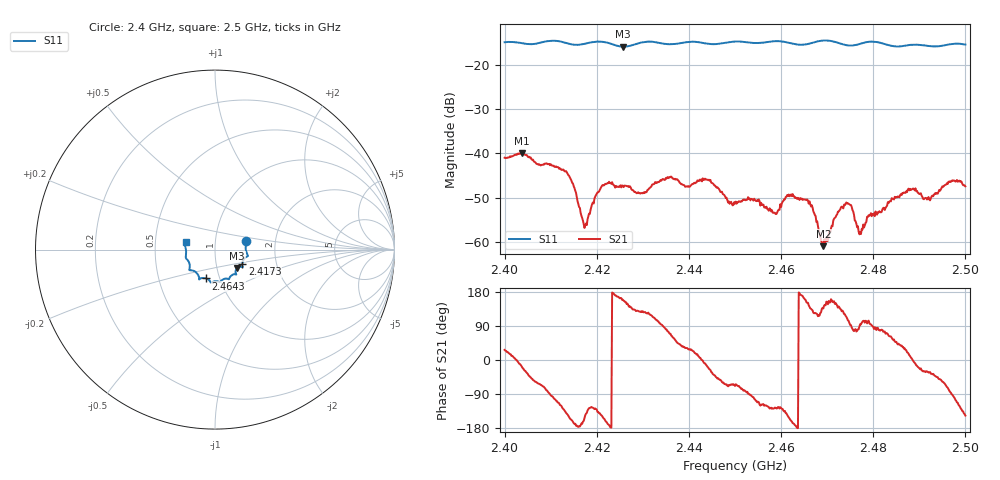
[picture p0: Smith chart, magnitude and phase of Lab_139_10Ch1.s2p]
# Hz S RI R 50
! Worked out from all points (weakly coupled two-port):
!   601 points, 2.4 GHz to 2.5 GHz, reference 50 ohm
!   highest |S21| = -39.93 dB at 2.4037 GHz (marker M1); lowest = -60.9 dB at 2.4692 GHz (marker M2)
!   lowest |S11| = -15.9 dB at 2.4257 GHz (marker M3), VSWR 1.38, Z = 62.5 - j13.1 ohm
!   |S11| at or under -10 dB: start of sweep to end of sweep
!   S12 and S22 are empty: the file has one direction only
!   S11 on the Smith chart (normalised r, x): 2.4 GHz: 1.41, +0.14; 2.4173 GHz: 1.34, -0.23; 2.4643 GHz: 0.86, -0.28; 2.5 GHz: 0.72, +0.06
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2.4e9  0.1731 0.0489  0.00798 0.00402  0 0  0 0
2.403667e9  0.1736 0.0287  0.00969 -0.0028  0 0  0 0
2.413167e9  0.1727 -0.042  -0.00455 -0.0043  0 0  0 0
2.416667e9  0.1529 -0.0742  -0.00193 -0.000431  0 0  0 0
2.417333e9  0.1519 -0.0817  -0.00129 -0.000645  0 0  0 0
2.421333e9  0.1538 -0.0966  -0.00386 -0.0021  0 0  0 0
2.425667e9  0.1228 -0.1024  -0.00403 0.00154  0 0  0 0
2.429833e9  0.1169 -0.1357  -0.00215 0.00286  0 0  0 0
2.433333e9  0.1126 -0.1372  -0.00103 0.00464  0 0  0 0
2.444167e9  0.0621 -0.1611  0.0047 -0.00166  0 0  0 0
2.45e9  0.0287 -0.1808  0.000995 -0.00252  0 0  0 0
2.458667e9  -0.0215 -0.1836  -0.00124 -0.00173  0 0  0 0
2.4615e9  -0.0279 -0.1757  -0.00281 -0.00172  0 0  0 0
2.464333e9  -0.05 -0.1606  -0.00304 0.000457  0 0  0 0
2.466667e9  -0.076 -0.1592  -0.00176 0.0019  0 0  0 0
2.469167e9  -0.088 -0.1661  -0.000646 0.000621  0 0  0 0
2.474167e9  -0.0986 -0.1343  -0.00113 0.00255  0 0  0 0
2.477167e9  -0.1279 -0.1159  -0.000102 0.0013  0 0  0 0
2.483333e9  -0.1405 -0.0898  0.0012 0.00248  0 0  0 0
2.488e9  -0.1602 -0.0503  0.00391 0.000709  0 0  0 0
2.492e9  -0.1611 -0.0258  0.00269 -0.00176  0 0  0 0
2.5e9  -0.1637 0.0426  -0.00355 -0.00233  0 0  0 0
